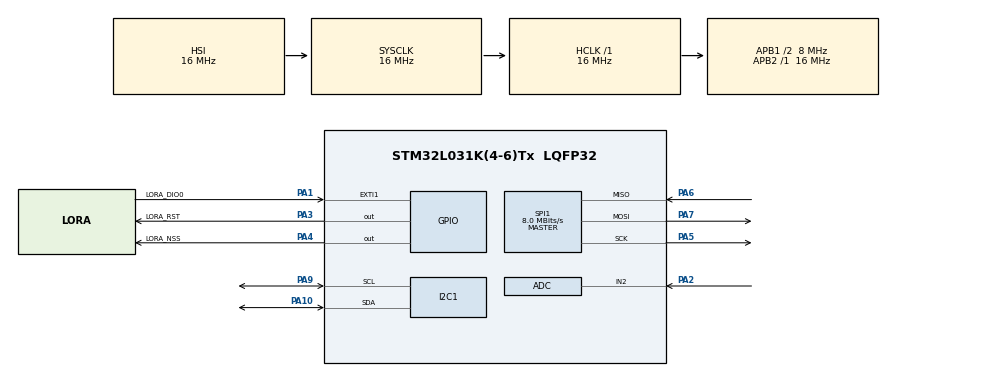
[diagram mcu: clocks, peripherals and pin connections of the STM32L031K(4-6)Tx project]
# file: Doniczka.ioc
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ADC.ClockPrescaler=ADC_CLOCK_ASYNC_DIV1
ADC.SamplingTime=ADC_SAMPLETIME_19CYCLES_5
CRC.CRCLength=CRC_POLYLENGTH_16B
CRC.DefaultInitValueUse=DEFAULT_INIT_VALUE_DISABLE
CRC.DefaultPolynomialUse=DEFAULT_POLYNOMIAL_DISABLE
CRC.InitValue=65535
I2C1.Analog_Filter=I2C_ANALOGFILTER_ENABLE
I2C1.Speed=100
I2C1.Timing=0x00201D2B
Mcu.Family=STM32L0
Mcu.Name=STM32L031K(4-6)Tx
Mcu.Package=LQFP32
NVIC.EXTI0_1_IRQn=true\:1\:0\:true\:false\:true\:true\:true\:true
NVIC.RTC_IRQn=true\:0\:0\:false\:false\:true\:true\:true\:true
PA1.GPIO_Label=LORA_DIO0
PA1.GPIO_PuPd=GPIO_PULLDOWN
PA1.Signal=GPXTI1
PA10.Mode=I2C
PA10.Signal=I2C1_SDA
PA2.Mode=IN2
PA2.Signal=ADC_IN2
PA3.GPIO_Label=LORA_RST
PA3.Signal=GPIO_Output
PA4.GPIO_Label=LORA_NSS
PA4.Signal=GPIO_Output
PA5.Mode=Full_Duplex_Master
PA5.Signal=SPI1_SCK
PA6.Mode=Full_Duplex_Master
PA6.Signal=SPI1_MISO
PA7.Mode=Full_Duplex_Master
PA7.Signal=SPI1_MOSI
PA9.Mode=I2C
PA9.Signal=I2C1_SCL
PC14-OSC32_IN.Mode=LSE-External-Oscillator
PC14-OSC32_IN.Signal=RCC_OSC32_IN
PC15-OSC32_OUT.Mode=LSE-External-Oscillator
PC15-OSC32_OUT.Signal=RCC_OSC32_OUT
ProjectManager.HeapSize=0x200
ProjectManager.StackSize=0x400
ProjectManager.TargetToolchain=STM32CubeIDE
RCC.ADCFreq_Value=16000000
RCC.AHBFreq_Value=16000000
RCC.APB1CLKDivider=RCC_HCLK_DIV2
RCC.APB1Freq_Value=8000000
RCC.APB1TimFreq_Value=16000000
RCC.APB2Freq_Value=16000000
RCC.APB2TimFreq_Value=16000000
RCC.HCLKFreq_Value=16000000
RCC.HSE_VALUE=8000000
RCC.HSI16_VALUE=16000000
RCC.HSI_VALUE=16000000
RCC.MSIClockRange=RCC_MSIRANGE_6
RCC.MSI_VALUE=4194000
RCC.RTCClockSelection=RCC_RTCCLKSOURCE_LSE
RCC.RTCClockSelectionVirtual=RCC_RTCCLKSOURCE_LSE
RCC.SYSCLKFreq_VALUE=16000000
RCC.SYSCLKSource=RCC_SYSCLKSOURCE_HSI
RCC.VCOOutputFreq_Value=48000000
SPI1.CalculateBaudRate=8.0 MBits/s
SPI1.Direction=SPI_DIRECTION_2LINES
SPI1.Mode=SPI_MODE_MASTER
SPI1.VirtualType=VM_MASTER
VP_CRC_VS_CRC.Mode=CRC_Activate
VP_RTC_VS_RTC_Activate.Mode=RTC_Enabled
VP_RTC_VS_RTC_WakeUp_intern.Mode=WakeUp
board=custom

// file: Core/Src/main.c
/* USER CODE BEGIN Header */
/**
 ******************************************************************************
 * @file           : main.c
 * @brief          : Main program body
 ******************************************************************************
 * @attention
 *
 * Copyright (c) 2025 STMicroelectronics.
 * All rights reserved.
 *
 * This software is licensed under terms that can be found in the LICENSE file
 * in the root directory of this software component.
 * If no LICENSE file comes with this software, it is provided AS-IS.
 *
 ******************************************************************************
 */
/* USER CODE END Header */
#include "main.h"

/* USER CODE BEGIN Includes */
//#include "SX1278.h"
#include "string.h"
#include "hal_rtc.h"
#include "hal_power.h"

/* USER CODE END Includes */

/* USER CODE BEGIN PD */

#define RTC_WAKEUP_TIME_S 3

/* USER CODE END PD */

ADC_HandleTypeDef hadc;

CRC_HandleTypeDef hcrc;

I2C_HandleTypeDef hi2c1;

RTC_HandleTypeDef hrtc;

SPI_HandleTypeDef hspi1;

/* USER CODE BEGIN PV */

// Lora transmitter
SX1278_hw_t sx1278_hw;
SX1278_t sx1278;

// BH1750
BH1750_device_t *bh1750;

// Lora data variables
uint8_t lora_buffer[128];
volatile uint8_t lora_data_ready = 0;

// Communication test variables removed

// RTC Timer variables
volatile bool rtc_wakeup_flag = false;

// RTC Time and Date variables
RTC_TimeTypeDef clock_time;
RTC_DateTypeDef clock_date;

/* USER CODE END PV */

void SystemClock_Config(void);
static void MX_GPIO_Init(void);
static void MX_SPI1_Init(void);
static void MX_ADC_Init(void);
static void MX_RTC_Init(void);
static void MX_I2C1_Init(void);
static void MX_CRC_Init(void);

int main(void) {

	/* MCU Configuration--------------------------------------------------------*/

	/* Reset of all peripherals, Initializes the Flash interface and the Systick. */
	HAL_Init();

	/* Configure the system clock */
	SystemClock_Config();

	/* Initialize all configured peripherals */
	MX_GPIO_Init();
	MX_SPI1_Init();
	MX_ADC_Init();
	MX_RTC_Init();
	MX_I2C1_Init();
	MX_CRC_Init();
	/* USER CODE BEGIN 2 */

	// SX1278 module initialization
	comm_init();

	// ADC and Sensor Initialization
	HAL_ADCEx_Calibration_Start(&hadc, ADC_SINGLE_ENDED);

	// RTC
	__HAL_RCC_RTC_ENABLE();
	HAL_RTC_SetWakeup(4);

	// I2C
	bh1750 = BH1750_init_dev_struct(&hi2c1, "bh1750", true);
	BH1750_init_dev(bh1750);

	bool handshake = false;
	packet_t received_pkt;

	// CRC Init
	__HAL_RCC_CRC_CLK_ENABLE();

	// TEMP
	//node_restart();

	if (node_config() == 0)
		Error_Handler();

	// Validate Hive Connection
	while (handshake == false) {
		handshake = comm_handshake_master();
		SX1278_receive(&sx1278, 64, 2000);
	}

	while (!comm_await_start()){}

	/* USER CODE END 2 */

	/* Infinite loop */
	/* USER CODE BEGIN WHILE */
	while (1) {
		if (lora_data_ready) {
			if (verify_pkt(&received_pkt)) {
				printf("Packet check successful\n");

				if (received_pkt.pkt_type == PKT_REQ_DATA) {
					comm_handle_req_data(&received_pkt);
				} else if (received_pkt.pkt_type == PKT_TEST_CONN) {
					comm_handle_test_conn(&received_pkt);
				} else if (received_pkt.pkt_type == PKT_ASSIGN_ID) {

				} else if (received_pkt.pkt_type == PKT_REQ_ID) {

				} else if (received_pkt.pkt_type == PKT_CMD) {
					comm_handle_cmd(&received_pkt);
				}

				SX1278_receive(&sx1278, 64, 2000);

			} else {
				printf("Packet check failed\n");
			}

			lora_data_ready = 0;
		}

		static uint32_t last_check = 0;
		if (HAL_GetTick() - last_check > 15000) {
			last_check = HAL_GetTick();

			if (sx1278.status != RX) {
				SX1278_hw_Reset(sx1278.hw);
				HAL_Delay(100);

				SX1278_receive(&sx1278, 64, 2000);
			}
		}

//		if (rtc_wakeup_flag) {
//			rtc_wakeup_flag = false;
//
//			if (comm_send_moisture()) {
//			} else {
//			}
//
//			if (comm_send_lux()) {
//
//			} else {
//			}
//		}
//
//		POWER_GoToSleep(&sx1278);

		/* USER CODE END WHILE */

	}
}

void SystemClock_Config(void) {
	RCC_OscInitTypeDef RCC_OscInitStruct = { 0 };
	RCC_ClkInitTypeDef RCC_ClkInitStruct = { 0 };
	RCC_PeriphCLKInitTypeDef PeriphClkInit = { 0 };

	/** Configure the main internal regulator output voltage
	 */
	__HAL_PWR_VOLTAGESCALING_CONFIG(PWR_REGULATOR_VOLTAGE_SCALE1);

	/** Configure LSE Drive Capability
	 */
	HAL_PWR_EnableBkUpAccess();
	__HAL_RCC_LSEDRIVE_CONFIG(RCC_LSEDRIVE_LOW);

	/** Initializes the RCC Oscillators according to the specified parameters
	 * in the RCC_OscInitTypeDef structure.
	 */
	RCC_OscInitStruct.OscillatorType = RCC_OSCILLATORTYPE_HSI
			| RCC_OSCILLATORTYPE_LSE;
	RCC_OscInitStruct.LSEState = RCC_LSE_ON;
	RCC_OscInitStruct.HSIState = RCC_HSI_ON;
	RCC_OscInitStruct.HSICalibrationValue = RCC_HSICALIBRATION_DEFAULT;
	RCC_OscInitStruct.PLL.PLLState = RCC_PLL_NONE;
	if (HAL_RCC_OscConfig(&RCC_OscInitStruct) != HAL_OK) {
		Error_Handler();
	}

	/** Initializes the CPU, AHB and APB buses clocks
	 */
	RCC_ClkInitStruct.ClockType = RCC_CLOCKTYPE_HCLK | RCC_CLOCKTYPE_SYSCLK
			| RCC_CLOCKTYPE_PCLK1 | RCC_CLOCKTYPE_PCLK2;
	RCC_ClkInitStruct.SYSCLKSource = RCC_SYSCLKSOURCE_HSI;
	RCC_ClkInitStruct.AHBCLKDivider = RCC_SYSCLK_DIV1;
	RCC_ClkInitStruct.APB1CLKDivider = RCC_HCLK_DIV2;
	RCC_ClkInitStruct.APB2CLKDivider = RCC_HCLK_DIV1;

	if (HAL_RCC_ClockConfig(&RCC_ClkInitStruct, FLASH_LATENCY_0) != HAL_OK) {
		Error_Handler();
	}
	PeriphClkInit.PeriphClockSelection = RCC_PERIPHCLK_I2C1 | RCC_PERIPHCLK_RTC;
	PeriphClkInit.I2c1ClockSelection = RCC_I2C1CLKSOURCE_PCLK1;
	PeriphClkInit.RTCClockSelection = RCC_RTCCLKSOURCE_LSE;
	if (HAL_RCCEx_PeriphCLKConfig(&PeriphClkInit) != HAL_OK) {
		Error_Handler();
	}
}

static void MX_ADC_Init(void) {

	ADC_ChannelConfTypeDef sConfig = { 0 };

	/** Configure the global features of the ADC (Clock, Resolution, Data Alignment and number of conversion)
	 */
	hadc.Instance = ADC1;
	hadc.Init.OversamplingMode = DISABLE;
	hadc.Init.ClockPrescaler = ADC_CLOCK_ASYNC_DIV1;
	hadc.Init.Resolution = ADC_RESOLUTION_12B;
	hadc.Init.SamplingTime = ADC_SAMPLETIME_19CYCLES_5;
	hadc.Init.ScanConvMode = ADC_SCAN_DIRECTION_FORWARD;
	hadc.Init.DataAlign = ADC_DATAALIGN_RIGHT;
	hadc.Init.ContinuousConvMode = DISABLE;
	hadc.Init.DiscontinuousConvMode = DISABLE;
	hadc.Init.ExternalTrigConvEdge = ADC_EXTERNALTRIGCONVEDGE_NONE;
	hadc.Init.ExternalTrigConv = ADC_SOFTWARE_START;
	hadc.Init.DMAContinuousRequests = DISABLE;
	hadc.Init.EOCSelection = ADC_EOC_SINGLE_CONV;
	hadc.Init.Overrun = ADC_OVR_DATA_PRESERVED;
	hadc.Init.LowPowerAutoWait = DISABLE;
	hadc.Init.LowPowerFrequencyMode = DISABLE;
	hadc.Init.LowPowerAutoPowerOff = DISABLE;
	if (HAL_ADC_Init(&hadc) != HAL_OK) {
		Error_Handler();
	}

	/** Configure for the selected ADC regular channel to be converted.
	 */
	sConfig.Channel = ADC_CHANNEL_2;
	sConfig.Rank = ADC_RANK_CHANNEL_NUMBER;
	if (HAL_ADC_ConfigChannel(&hadc, &sConfig) != HAL_OK) {
		Error_Handler();
	}

}

static void MX_CRC_Init(void) {

	hcrc.Instance = CRC;
	hcrc.Init.DefaultPolynomialUse = DEFAULT_POLYNOMIAL_DISABLE;
	hcrc.Init.DefaultInitValueUse = DEFAULT_INIT_VALUE_DISABLE;
	hcrc.Init.GeneratingPolynomial = 7;
	hcrc.Init.CRCLength = CRC_POLYLENGTH_16B;
	hcrc.Init.InitValue = 65535;
	hcrc.Init.InputDataInversionMode = CRC_INPUTDATA_INVERSION_NONE;
	hcrc.Init.OutputDataInversionMode = CRC_OUTPUTDATA_INVERSION_DISABLE;
	hcrc.InputDataFormat = CRC_INPUTDATA_FORMAT_BYTES;
	if (HAL_CRC_Init(&hcrc) != HAL_OK) {
		Error_Handler();
	}

}

static void MX_I2C1_Init(void) {

	hi2c1.Instance = I2C1;
	hi2c1.Init.Timing = 0x00201D2B;
	hi2c1.Init.OwnAddress1 = 0;
	hi2c1.Init.AddressingMode = I2C_ADDRESSINGMODE_7BIT;
	hi2c1.Init.DualAddressMode = I2C_DUALADDRESS_DISABLE;
	hi2c1.Init.OwnAddress2 = 0;
	hi2c1.Init.OwnAddress2Masks = I2C_OA2_NOMASK;
	hi2c1.Init.GeneralCallMode = I2C_GENERALCALL_DISABLE;
	hi2c1.Init.NoStretchMode = I2C_NOSTRETCH_DISABLE;
	if (HAL_I2C_Init(&hi2c1) != HAL_OK) {
		Error_Handler();
	}

	/** Configure Analogue filter
	 */
	if (HAL_I2CEx_ConfigAnalogFilter(&hi2c1, I2C_ANALOGFILTER_ENABLE)
			!= HAL_OK) {
		Error_Handler();
	}

	/** Configure Digital filter
	 */
	if (HAL_I2CEx_ConfigDigitalFilter(&hi2c1, 0) != HAL_OK) {
		Error_Handler();
	}

}

static void MX_RTC_Init(void) {

	/** Initialize RTC Only
	 */
	hrtc.Instance = RTC;
	hrtc.Init.HourFormat = RTC_HOURFORMAT_24;
	hrtc.Init.AsynchPrediv = 127;
	hrtc.Init.SynchPrediv = 255;
	hrtc.Init.OutPut = RTC_OUTPUT_DISABLE;
	hrtc.Init.OutPutRemap = RTC_OUTPUT_REMAP_NONE;
	hrtc.Init.OutPutPolarity = RTC_OUTPUT_POLARITY_HIGH;
	hrtc.Init.OutPutType = RTC_OUTPUT_TYPE_OPENDRAIN;
	if (HAL_RTC_Init(&hrtc) != HAL_OK) {
		Error_Handler();
	}

	/** Enable the WakeUp
	 */
	if (HAL_RTCEx_SetWakeUpTimer_IT(&hrtc, 0, RTC_WAKEUPCLOCK_RTCCLK_DIV16)
			!= HAL_OK) {
		Error_Handler();
	}

}

static void MX_SPI1_Init(void) {

	/* SPI1 parameter configuration*/
	hspi1.Instance = SPI1;
	hspi1.Init.Mode = SPI_MODE_MASTER;
	hspi1.Init.Direction = SPI_DIRECTION_2LINES;
	hspi1.Init.DataSize = SPI_DATASIZE_8BIT;
	hspi1.Init.CLKPolarity = SPI_POLARITY_LOW;
	hspi1.Init.CLKPhase = SPI_PHASE_1EDGE;
	hspi1.Init.NSS = SPI_NSS_SOFT;
	hspi1.Init.BaudRatePrescaler = SPI_BAUDRATEPRESCALER_2;
	hspi1.Init.FirstBit = SPI_FIRSTBIT_MSB;
	hspi1.Init.TIMode = SPI_TIMODE_DISABLE;
	hspi1.Init.CRCCalculation = SPI_CRCCALCULATION_DISABLE;
	hspi1.Init.CRCPolynomial = 7;
	if (HAL_SPI_Init(&hspi1) != HAL_OK) {
		Error_Handler();
	}

}

static void MX_GPIO_Init(void) {
	GPIO_InitTypeDef GPIO_InitStruct = { 0 };

	/* GPIO Ports Clock Enable */
	__HAL_RCC_GPIOC_CLK_ENABLE();
	__HAL_RCC_GPIOA_CLK_ENABLE();

	/*Configure GPIO pin Output Level */
	HAL_GPIO_WritePin(GPIOA, LORA_RST_Pin | LORA_NSS_Pin, GPIO_PIN_RESET);

	/*Configure GPIO pin : LORA_DIO0_Pin */
	GPIO_InitStruct.Pin = LORA_DIO0_Pin;
	GPIO_InitStruct.Mode = GPIO_MODE_IT_RISING;
	GPIO_InitStruct.Pull = GPIO_PULLDOWN;
	HAL_GPIO_Init(LORA_DIO0_GPIO_Port, &GPIO_InitStruct);

	/*Configure GPIO pins : LORA_RST_Pin LORA_NSS_Pin */
	GPIO_InitStruct.Pin = LORA_RST_Pin | LORA_NSS_Pin;
	GPIO_InitStruct.Mode = GPIO_MODE_OUTPUT_PP;
	GPIO_InitStruct.Pull = GPIO_NOPULL;
	GPIO_InitStruct.Speed = GPIO_SPEED_FREQ_LOW;
	HAL_GPIO_Init(GPIOA, &GPIO_InitStruct);

	/* EXTI interrupt init*/
	HAL_NVIC_SetPriority(EXTI0_1_IRQn, 1, 0);
	HAL_NVIC_EnableIRQ(EXTI0_1_IRQn);

}

/* USER CODE BEGIN 4 */

/**
 * @brief  EXTI line detection callback.
 * @param  GPIO_Pin Specifies the port pin connected to corresponding EXTI line.
 * @retval None
 */
void HAL_GPIO_EXTI_Callback(uint16_t GPIO_Pin) {
	if (GPIO_Pin == LORA_DIO0_Pin) {
		// Handle LoRa interrupt
		uint8_t received_data[128];
		uint8_t data_length = 0;

		if (SX1278_available(&sx1278) && !lora_data_ready) {

			data_length = SX1278_read(&sx1278, received_data, 64);
			if (data_length > 0) {
				received_data[data_length] = '\0';

				// Kopiowanie danych do bufora globalnego
				memcpy(lora_buffer, received_data, data_length + 1);
				lora_data_ready = 1;
			}
		}
	}
}

void ReinitPeripheralsAfterWakeup(void) {
	MX_ADC_Init();
	MX_SPI1_Init();
	MX_I2C1_Init();
}

/* USER CODE END 4 */

void Error_Handler(void) {
	__disable_irq();
	while (1) {
	}
}
